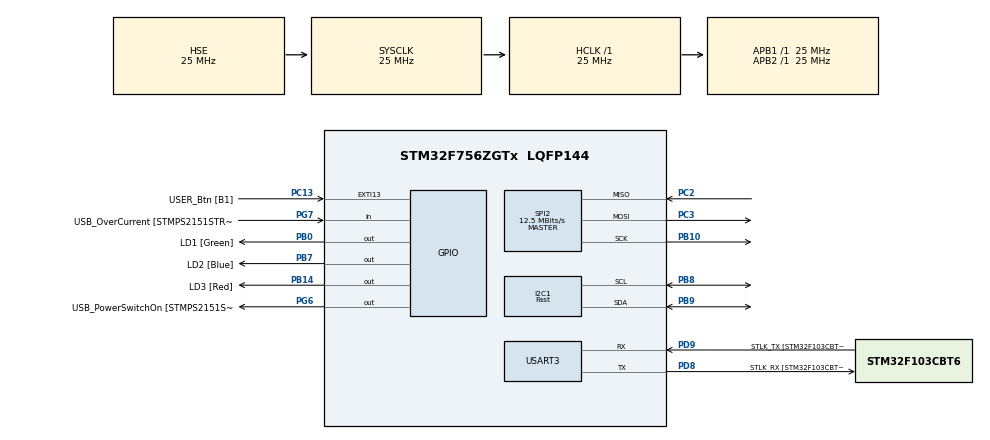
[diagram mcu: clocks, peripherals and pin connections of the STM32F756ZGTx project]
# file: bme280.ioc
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CORTEX_M7.CPU_DCache=Enabled
CORTEX_M7.CPU_ICache=Enabled
Dma.I2C1_RX.2.Direction=DMA_PERIPH_TO_MEMORY
Dma.I2C1_RX.2.FIFOMode=DMA_FIFOMODE_DISABLE
Dma.I2C1_RX.2.Instance=DMA1_Stream0
Dma.I2C1_RX.2.MemDataAlignment=DMA_MDATAALIGN_BYTE
Dma.I2C1_RX.2.MemInc=DMA_MINC_ENABLE
Dma.I2C1_RX.2.Mode=DMA_CIRCULAR
Dma.I2C1_RX.2.PeriphDataAlignment=DMA_PDATAALIGN_BYTE
Dma.I2C1_RX.2.PeriphInc=DMA_PINC_DISABLE
Dma.I2C1_RX.2.Priority=DMA_PRIORITY_LOW
Dma.I2C1_TX.3.Direction=DMA_MEMORY_TO_PERIPH
Dma.I2C1_TX.3.FIFOMode=DMA_FIFOMODE_DISABLE
Dma.I2C1_TX.3.Instance=DMA1_Stream6
Dma.I2C1_TX.3.MemDataAlignment=DMA_MDATAALIGN_BYTE
Dma.I2C1_TX.3.MemInc=DMA_MINC_ENABLE
Dma.I2C1_TX.3.Mode=DMA_CIRCULAR
Dma.I2C1_TX.3.PeriphDataAlignment=DMA_PDATAALIGN_BYTE
Dma.I2C1_TX.3.PeriphInc=DMA_PINC_DISABLE
Dma.I2C1_TX.3.Priority=DMA_PRIORITY_LOW
Dma.Request0=SPI2_TX
Dma.Request1=SPI2_RX
Dma.Request2=I2C1_RX
Dma.Request3=I2C1_TX
Dma.SPI2_RX.1.Direction=DMA_PERIPH_TO_MEMORY
Dma.SPI2_RX.1.FIFOMode=DMA_FIFOMODE_DISABLE
Dma.SPI2_RX.1.Instance=DMA1_Stream3
Dma.SPI2_RX.1.MemDataAlignment=DMA_MDATAALIGN_BYTE
Dma.SPI2_RX.1.MemInc=DMA_MINC_ENABLE
Dma.SPI2_RX.1.Mode=DMA_NORMAL
Dma.SPI2_RX.1.PeriphDataAlignment=DMA_PDATAALIGN_BYTE
Dma.SPI2_RX.1.PeriphInc=DMA_PINC_DISABLE
Dma.SPI2_RX.1.Priority=DMA_PRIORITY_MEDIUM
Dma.SPI2_TX.0.Direction=DMA_MEMORY_TO_PERIPH
Dma.SPI2_TX.0.FIFOMode=DMA_FIFOMODE_DISABLE
Dma.SPI2_TX.0.Instance=DMA1_Stream4
Dma.SPI2_TX.0.MemDataAlignment=DMA_MDATAALIGN_BYTE
Dma.SPI2_TX.0.MemInc=DMA_MINC_ENABLE
Dma.SPI2_TX.0.Mode=DMA_NORMAL
Dma.SPI2_TX.0.PeriphDataAlignment=DMA_PDATAALIGN_BYTE
Dma.SPI2_TX.0.PeriphInc=DMA_PINC_DISABLE
Dma.SPI2_TX.0.Priority=DMA_PRIORITY_MEDIUM
I2C1.I2C_Speed_Mode=I2C_Fast
I2C1.Timing=0x00200B2B
Mcu.Family=STM32F7
Mcu.Name=STM32F756ZGTx
Mcu.Package=LQFP144
NVIC.DMA1_Stream0_IRQn=true\:0\:0\:false\:false\:true\:false\:true\:true
NVIC.DMA1_Stream3_IRQn=true\:0\:0\:false\:false\:true\:false\:true\:true
NVIC.DMA1_Stream4_IRQn=true\:0\:0\:false\:false\:true\:false\:true\:true
NVIC.DMA1_Stream6_IRQn=true\:0\:0\:false\:false\:true\:false\:true\:true
NVIC.I2C1_ER_IRQn=true\:0\:0\:false\:false\:true\:true\:true\:true
NVIC.I2C1_EV_IRQn=true\:0\:0\:false\:false\:true\:true\:true\:true
NVIC.PriorityGroup=NVIC_PRIORITYGROUP_4
NVIC.SPI2_IRQn=true\:0\:0\:false\:false\:true\:true\:true\:true
PA1.GPIO_Label=RMII_REF_CLK [LAN8742A-CZ-TR_REFCLK0]
PA1.Signal=ETH_REF_CLK
PA10.GPIO_Label=USB_ID
PA10.Signal=USB_OTG_FS_ID
PA11.GPIO_Label=USB_DM
PA11.Signal=USB_OTG_FS_DM
PA12.GPIO_Label=USB_DP
PA12.Signal=USB_OTG_FS_DP
PA13.GPIO_Label=TMS
PA13.Mode=Serial_Wire
PA13.Signal=SYS_JTMS-SWDIO
PA14.GPIO_Label=TCK
PA14.Mode=Serial_Wire
PA14.Signal=SYS_JTCK-SWCLK
PA2.GPIO_Label=RMII_MDIO [LAN8742A-CZ-TR_MDIO]
PA2.Signal=ETH_MDIO
PA7.GPIO_Label=RMII_CRS_DV [LAN8742A-CZ-TR_CRS_DV]
PA7.Signal=ETH_CRS_DV
PA8.GPIO_Label=USB_SOF [TP1]
PA8.Signal=USB_OTG_FS_SOF
PA9.GPIO_Label=USB_VBUS
PA9.Signal=USB_OTG_FS_VBUS
PB0.GPIO_Label=LD1 [Green]
PB0.Signal=GPIO_Output
PB10.Mode=Full_Duplex_Master
PB10.Signal=SPI2_SCK
PB13.GPIO_Label=RMII_TXD1 [LAN8742A-CZ-TR_TXD1]
PB13.Signal=ETH_TXD1
PB14.GPIO_Label=LD3 [Red]
PB14.Signal=GPIO_Output
PB3.GPIO_Label=SW0
PB3.Signal=SYS_JTDO-SWO
PB7.GPIO_Label=LD2 [Blue]
PB7.Signal=GPIO_Output
PB8.Mode=I2C
PB8.Signal=I2C1_SCL
PB9.Mode=I2C
PB9.Signal=I2C1_SDA
PC1.GPIO_Label=RMII_MDC [LAN8742A-CZ-TR_MDC]
PC1.Signal=ETH_MDC
PC13.GPIO_Label=USER_Btn [B1]
PC13.Signal=GPXTI13
PC14/OSC32_IN.Signal=RCC_OSC32_IN
PC15/OSC32_OUT.Signal=RCC_OSC32_OUT
PC2.Mode=Full_Duplex_Master
PC2.Signal=SPI2_MISO
PC3.Mode=Full_Duplex_Master
PC3.Signal=SPI2_MOSI
PC4.GPIO_Label=RMII_RXD0 [LAN8742A-CZ-TR_RXD0]
PC4.Signal=ETH_RXD0
PC5.GPIO_Label=RMII_RXD1 [LAN8742A-CZ-TR_RXD1]
PC5.Signal=ETH_RXD1
PD8.GPIO_Label=STLK_RX [STM32F103CBT6_PA3]
PD8.Mode=Asynchronous
PD8.Signal=USART3_TX
PD9.GPIO_Label=STLK_TX [STM32F103CBT6_PA2]
PD9.Mode=Asynchronous
PD9.Signal=USART3_RX
PG11.GPIO_Label=RMII_TX_EN [LAN8742A-CZ-TR_TXEN]
PG11.Signal=ETH_TX_EN
PG13.GPIO_Label=RMII_TXD0 [LAN8742A-CZ-TR_TXD0]
PG13.Signal=ETH_TXD0
PG6.GPIO_Label=USB_PowerSwitchOn [STMPS2151STR_EN]
PG6.Signal=GPIO_Output
PG7.GPIO_Label=USB_OverCurrent [STMPS2151STR_FAULT]
PG7.Signal=GPIO_Input
PH0/OSC_IN.GPIO_Label=MCO [STM32F103CBT6_PA8]
PH0/OSC_IN.Mode=HSE-External-Oscillator
PH0/OSC_IN.Signal=RCC_OSC_IN
PH1/OSC_OUT.Mode=HSE-External-Oscillator
PH1/OSC_OUT.Signal=RCC_OSC_OUT
ProjectManager.HeapSize=0x200
ProjectManager.StackSize=0x400
ProjectManager.TargetToolchain=STM32CubeIDE
RCC.48MHZClocksFreq_Value=24000000
RCC.AHBFreq_Value=25000000
RCC.APB1Freq_Value=25000000
RCC.APB1TimFreq_Value=25000000
RCC.APB2Freq_Value=25000000
RCC.APB2TimFreq_Value=25000000
RCC.CortexFreq_Value=25000000
RCC.EnbaleCSS=true
RCC.HCLKFreq_Value=25000000
RCC.HSE_VALUE=25000000
RCC.HSI_VALUE=16000000
RCC.PLLM=8
RCC.PLLMUL=RCC_PLL_MUL9
RCC.PLLN=50
RCC.PLLQ=3
RCC.PRESCALERUSB=RCC_USBCLKSOURCE_PLL_DIV1_5
RCC.SYSCLKFreq_VALUE=25000000
RCC.SYSCLKSource=RCC_SYSCLKSOURCE_HSE
RCC.SYSCLKSourceVirtual=RCC_SYSCLKSOURCE_PLLCLK
RCC.USBFreq_Value=33333333.333333332
RCC.VCOOutputFreq_Value=100000000
SPI2.CalculateBaudRate=12.5 MBits/s
SPI2.DataSize=SPI_DATASIZE_8BIT
SPI2.Direction=SPI_DIRECTION_2LINES
SPI2.Mode=SPI_MODE_MASTER
SPI2.VirtualType=VM_MASTER
TIM2.AutoReloadPreload=TIM_AUTORELOAD_PRELOAD_DISABLE
TIM2.Period=99999
TIM2.Prescaler=25
TIM2.TIM_MasterOutputTrigger=TIM_TRGO_RESET
TIM2.TIM_MasterSlaveMode=TIM_MASTERSLAVEMODE_DISABLE
USART3.VirtualMode-Asynchronous=VM_ASYNC
VP_TIM2_VS_ClockSourceINT.Mode=Internal
board=NUCLEO-F756ZG

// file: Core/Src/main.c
/* USER CODE BEGIN Header */
/**
 ******************************************************************************
 * @file           : main.c
 * @brief          : Main program body
 ******************************************************************************
 * @attention
 *
 * Copyright (c) 2026 STMicroelectronics.
 * All rights reserved.
 *
 * This software is licensed under terms that can be found in the LICENSE file
 * in the root directory of this software component.
 * If no LICENSE file comes with this software, it is provided AS-IS.
 *
 ******************************************************************************
 */
/* USER CODE END Header */
#include "main.h"
#include "dma.h"
#include "i2c.h"
#include "spi.h"
#include "tim.h"
#include "usart.h"
#include "gpio.h"

/* USER CODE BEGIN Includes */
#include "bme280.h"
#include "string.h"
/* USER CODE END Includes */

/* USER CODE BEGIN PV */
bme280_t bme280Handler = {0};        // main device handle; mode/oversampling filled by preset
bme280_config_t bme280Config = {0};  // config register (0xF5) settings: standby, filter, SPI

volatile uint8_t transactionFlag = {1};  // set to 1 by UART TX callback to trigger next measurement

bme280_int32_t  temperatureBuffer = 0;  // compensated temperature in integer degrees C
bme280_uint32_t pressBuffer       = 0;  // compensated pressure in integer Pa
bme280_uint32_t humidityBuffer    = 0;  // compensated humidity in integer %RH
char uartMessage[50] = {0};             // formatted output string
/* USER CODE END PV */

void SystemClock_Config(void);
/* USER CODE BEGIN PFP */
HAL_StatusTypeDef BME280_Init(void);
/* USER CODE END PFP */

int main(void)
{

    /* Enable the CPU Cache */

    /* Enable I-Cache---------------------------------------------------------*/
    SCB_EnableICache();

    /* Enable D-Cache---------------------------------------------------------*/
    SCB_EnableDCache();

    /* MCU Configuration--------------------------------------------------------*/

    /* Reset of all peripherals, Initializes the Flash interface and the Systick. */
    HAL_Init();

    /* Configure the system clock */
    SystemClock_Config();

    /* Initialize all configured peripherals */
    MX_GPIO_Init();
    MX_DMA_Init();
    MX_I2C1_Init();
    MX_SPI2_Init();
    MX_USART3_UART_Init();
    MX_TIM2_Init();
    /* USER CODE BEGIN 2 */
    BME280_Init();
    /* USER CODE END 2 */

    /* Infinite loop */
    /* USER CODE BEGIN WHILE */
    while (1)
    {
        if (transactionFlag) {
            bme280_read_raw(&bme280Handler);                                                                                                    // trigger/poll measurement, store raw ADC values
            bme280_read(&bme280Handler, &temperatureBuffer, &humidityBuffer, &pressBuffer);                                                     // apply compensation formulas
            sprintf(uartMessage, "T: %ld C, H: %lu %%, P: %lu Pa\n", (long)temperatureBuffer, (unsigned long)humidityBuffer, (unsigned long)pressBuffer);  // format output
            HAL_UART_Transmit_IT(&huart3, (uint8_t*)uartMessage, strlen(uartMessage));                                                         // send; next cycle starts in TxCpltCallback
            transactionFlag = 0;
        }
        /* USER CODE END WHILE */

    }
}

void SystemClock_Config(void)
{
    RCC_OscInitTypeDef RCC_OscInitStruct = {0};
    RCC_ClkInitTypeDef RCC_ClkInitStruct = {0};

    /** Configure the main internal regulator output voltage
     */
    __HAL_RCC_PWR_CLK_ENABLE();
    __HAL_PWR_VOLTAGESCALING_CONFIG(PWR_REGULATOR_VOLTAGE_SCALE3);

    /** Initializes the RCC Oscillators according to the specified parameters
     * in the RCC_OscInitTypeDef structure.
     */
    RCC_OscInitStruct.OscillatorType = RCC_OSCILLATORTYPE_HSE;
    RCC_OscInitStruct.HSEState = RCC_HSE_ON;
    RCC_OscInitStruct.PLL.PLLState = RCC_PLL_NONE;
    if (HAL_RCC_OscConfig(&RCC_OscInitStruct) != HAL_OK)
    {
        Error_Handler();
    }

    /** Initializes the CPU, AHB and APB buses clocks
     */
    RCC_ClkInitStruct.ClockType = RCC_CLOCKTYPE_HCLK|RCC_CLOCKTYPE_SYSCLK
            |RCC_CLOCKTYPE_PCLK1|RCC_CLOCKTYPE_PCLK2;
    RCC_ClkInitStruct.SYSCLKSource = RCC_SYSCLKSOURCE_HSE;
    RCC_ClkInitStruct.AHBCLKDivider = RCC_SYSCLK_DIV1;
    RCC_ClkInitStruct.APB1CLKDivider = RCC_HCLK_DIV1;
    RCC_ClkInitStruct.APB2CLKDivider = RCC_HCLK_DIV1;

    if (HAL_RCC_ClockConfig(&RCC_ClkInitStruct, FLASH_LATENCY_0) != HAL_OK)
    {
        Error_Handler();
    }

    /** Enables the Clock Security System
     */
    HAL_RCC_EnableCSS();
}

/* USER CODE BEGIN 4 */

// BME280 bus glue: blocking I2C read via HAL, ctx is expected to be I2C_HandleTypeDef*
bme280_status_t i2c_read(uint8_t dev_addr, uint8_t reg_addr, uint8_t* data, uint8_t len, void* ctx) {
    if (HAL_I2C_Mem_Read((I2C_HandleTypeDef*)ctx, (uint16_t)dev_addr, (uint16_t)reg_addr, I2C_MEMADD_SIZE_8BIT, data, len, HAL_MAX_DELAY) != HAL_OK) {
        return BME280_STATUS_ERROR;
    }
    return BME280_STATUS_OK;
}

// BME280 bus glue: blocking I2C write via HAL, ctx is expected to be I2C_HandleTypeDef*
bme280_status_t i2c_write(uint8_t dev_addr, uint8_t reg_addr, uint8_t* data, uint8_t len, void* ctx) {
    if (HAL_I2C_Mem_Write((I2C_HandleTypeDef*)ctx, dev_addr, reg_addr, I2C_MEMADD_SIZE_8BIT, data, len, HAL_MAX_DELAY) != HAL_OK) {
        return BME280_STATUS_ERROR;
    }
    return BME280_STATUS_OK;
}

// Configures preset, wires up I2C bus, initializes device, configures registers, reads calibration
HAL_StatusTypeDef BME280_Init(void) {
    if (bme280_indoorNavigation(&bme280Handler, &bme280Config) != BME280_STATUS_OK) {  // fill mode/oversampling/filter
        return HAL_ERROR;
    }

    bme280_bus_t bme280_bus = {0};
    bme280_bus.dev_addr = BME280_I2C_DEVICE_ADDR_GND << 1;  // 7-bit addr shifted to 8-bit HAL format
    bme280_bus.ctx      = &hi2c1;                            // passed as void* to i2c_read/write
    bme280_bus.read     = i2c_read;
    bme280_bus.write    = i2c_write;

    if (bme280_init(&bme280Handler, &bme280_bus) != BME280_STATUS_OK) {          // verify chip ID
        return HAL_ERROR;
    }
    if (bme280_configure(&bme280Handler, &bme280Config) != BME280_STATUS_OK) {   // write 0xF5/0xF2/0xF4
        return HAL_ERROR;
    }
    if (bme280_read_calibration(&bme280Handler) != BME280_STATUS_OK) {           // read once; coefficients never change
        return HAL_ERROR;
    }

    return HAL_OK;
}

// UART TX complete interrupt: signals main loop to start next measurement
void HAL_UART_TxCpltCallback(UART_HandleTypeDef *huart) {
    if (huart->Instance == USART3) {
        transactionFlag = 1;
    }
}
/* USER CODE END 4 */

void Error_Handler(void)
{
    __disable_irq();
    while (1)
    {
    }
}
